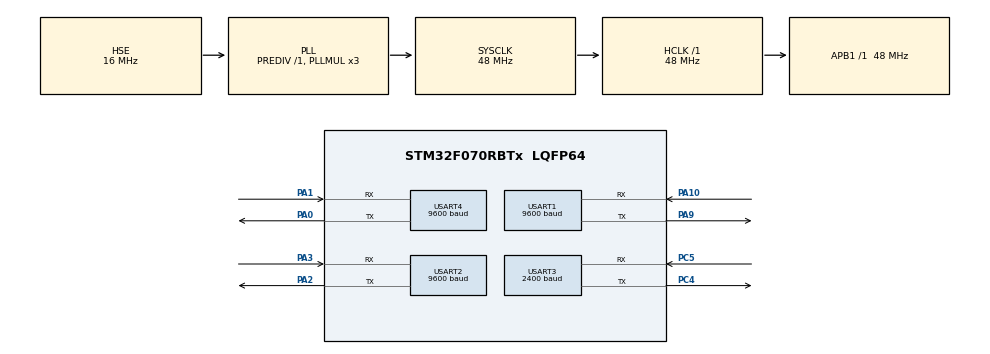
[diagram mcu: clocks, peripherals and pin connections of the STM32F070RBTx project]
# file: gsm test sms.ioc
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Mcu.Family=STM32F0
Mcu.Name=STM32F070RBTx
Mcu.Package=LQFP64
NVIC.USART1_IRQn=true\:0\:0\:false\:false\:true\:true
NVIC.USART2_IRQn=true\:0\:0\:false\:false\:true\:true
NVIC.USART3_4_IRQn=true\:0\:0\:false\:false\:true\:true
PA0.Mode=Asynchronous
PA0.Signal=USART4_TX
PA1.Mode=Asynchronous
PA1.Signal=USART4_RX
PA10.Mode=Asynchronous
PA10.Signal=USART1_RX
PA2.Mode=Asynchronous
PA2.Signal=USART2_TX
PA3.Mode=Asynchronous
PA3.Signal=USART2_RX
PA9.Mode=Asynchronous
PA9.Signal=USART1_TX
PC4.Mode=Asynchronous
PC4.Signal=USART3_TX
PC5.Mode=Asynchronous
PC5.Signal=USART3_RX
PF0-OSC_IN.Mode=HSE-External-Oscillator
PF0-OSC_IN.Signal=RCC_OSC_IN
PF1-OSC_OUT.Mode=HSE-External-Oscillator
PF1-OSC_OUT.Signal=RCC_OSC_OUT
ProjectManager.HeapSize=0x200
ProjectManager.StackSize=0x400
ProjectManager.TargetToolchain=MDK-ARM V5
RCC.AHBFreq_Value=48000000
RCC.APB1Freq_Value=48000000
RCC.APB1TimFreq_Value=48000000
RCC.HCLKFreq_Value=48000000
RCC.HSE_VALUE=16000000
RCC.PLLMUL=RCC_PLL_MUL3
RCC.PLLSourceVirtual=RCC_PLLSOURCE_HSE
RCC.SYSCLKFreq_VALUE=48000000
RCC.SYSCLKSource=RCC_SYSCLKSOURCE_PLLCLK
USART1.BaudRate=9600
USART1.VirtualMode-Asynchronous=VM_ASYNC
USART1.WordLength=WORDLENGTH_8B
USART2.BaudRate=9600
USART2.VirtualMode-Asynchronous=VM_ASYNC
USART2.WordLength=WORDLENGTH_8B
USART3.BaudRate=2400
USART3.VirtualMode-Asynchronous=VM_ASYNC
USART3.WordLength=WORDLENGTH_8B
USART4.BaudRate=9600
USART4.VirtualMode-Asynchronous=VM_ASYNC
USART4.WordLength=WORDLENGTH_8B
board=gsm test sms

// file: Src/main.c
/**
  ******************************************************************************
  * File Name          : main.c
  * Description        : Main program body
  ******************************************************************************
  ** This notice applies to any and all portions of this file
  * that are not between comment pairs USER CODE BEGIN and
  * USER CODE END. Other portions of this file, whether
  * inserted by the user or by software development tools
  * are owned by their respective copyright owners.
  *
  * COPYRIGHT(c) 2017 STMicroelectronics
  *
  * Redistribution and use in source and binary forms, with or without modification,
  * are permitted provided that the following conditions are met:
  *   1. Redistributions of source code must retain the above copyright notice,
  *      this list of conditions and the following disclaimer.
  *   2. Redistributions in binary form must reproduce the above copyright notice,
  *      this list of conditions and the following disclaimer in the documentation
  *      and/or other materials provided with the distribution.
  *   3. Neither the name of STMicroelectronics nor the names of its contributors
  *      may be used to endorse or promote products derived from this software
  *      without specific prior written permission.
  *
  * THIS SOFTWARE IS PROVIDED BY THE COPYRIGHT HOLDERS AND CONTRIBUTORS "AS IS"
  * AND ANY EXPRESS OR IMPLIED WARRANTIES, INCLUDING, BUT NOT LIMITED TO, THE
  * IMPLIED WARRANTIES OF MERCHANTABILITY AND FITNESS FOR A PARTICULAR PURPOSE ARE
  * DISCLAIMED. IN NO EVENT SHALL THE COPYRIGHT HOLDER OR CONTRIBUTORS BE LIABLE
  * FOR ANY DIRECT, INDIRECT, INCIDENTAL, SPECIAL, EXEMPLARY, OR CONSEQUENTIAL
  * DAMAGES (INCLUDING, BUT NOT LIMITED TO, PROCUREMENT OF SUBSTITUTE GOODS OR
  * SERVICES; LOSS OF USE, DATA, OR PROFITS; OR BUSINESS INTERRUPTION) HOWEVER
  * CAUSED AND ON ANY THEORY OF LIABILITY, WHETHER IN CONTRACT, STRICT LIABILITY,
  * OR TORT (INCLUDING NEGLIGENCE OR OTHERWISE) ARISING IN ANY WAY OUT OF THE USE
  * OF THIS SOFTWARE, EVEN IF ADVISED OF THE POSSIBILITY OF SUCH DAMAGE.
  *
  ******************************************************************************
  */
#include "main.h"
#include "stm32f0xx_hal.h"

UART_HandleTypeDef huart1;
UART_HandleTypeDef huart2;
UART_HandleTypeDef huart3;
UART_HandleTypeDef huart4;

/* USER CODE BEGIN PV */
/* Private variables ---------------------------------------------------------*/

/* USER CODE END PV */

void SystemClock_Config(void);
static void MX_GPIO_Init(void);
static void MX_USART1_UART_Init(void);
static void MX_USART3_UART_Init(void);
static void MX_USART2_UART_Init(void);
static void MX_USART4_UART_Init(void);

/* USER CODE BEGIN PFP */
/* Private function prototypes -----------------------------------------------*/
/*
void gsmsms()
{

}
*/
/* USER CODE END PFP */

int main(void)
{

  /* MCU Configuration----------------------------------------------------------*/

  /* Reset of all peripherals, Initializes the Flash interface and the Systick. */
  HAL_Init();

  /* Configure the system clock */
  SystemClock_Config();

  /* Initialize all configured peripherals */
  MX_GPIO_Init();
  MX_USART1_UART_Init();
  MX_USART3_UART_Init();
  MX_USART2_UART_Init();
  MX_USART4_UART_Init();

  /* USER CODE BEGIN 2 */
char buffer[50];
int i=0;

HAL_UART_Transmit(&huart1,"AT\r\n",3,10);
HAL_UART_Transmit(&huart4,"AT\r\n",3,10);
HAL_Delay(1000);

HAL_UART_Transmit(&huart1,"AT+CMGF=1\r\n",10,10);
HAL_UART_Transmit(&huart4,"AT+CMGF=1\r\n",10,10);
HAL_Delay(1000);

sprintf(buffer,"AT+CMGS=\"+918285884700\"\r\n");
i=strlen(buffer);
for(int j=0;j<=i;j++)
{
HAL_UART_Transmit(&huart1,&buffer[j],1,20);
HAL_UART_Transmit(&huart4,&buffer[j],1,20);
}
HAL_Delay(1000);

HAL_UART_Transmit(&huart1,"hello\r\n",6,10);
HAL_UART_Transmit(&huart4,"hello\r\n",6,10);
HAL_Delay(1000);

HAL_UART_Transmit(&huart1,"0x1A\r\n",5,10);
HAL_UART_Transmit(&huart4,"0x1A\r\n",5,10);
HAL_Delay(1000);

  /* USER CODE END 2 */

  /* Infinite loop */
  while (1)
  {

  }

}

/** System Clock Configuration
*/
void SystemClock_Config(void)
{

  RCC_OscInitTypeDef RCC_OscInitStruct;
  RCC_ClkInitTypeDef RCC_ClkInitStruct;
  RCC_PeriphCLKInitTypeDef PeriphClkInit;

    /**Initializes the CPU, AHB and APB busses clocks
    */
  RCC_OscInitStruct.OscillatorType = RCC_OSCILLATORTYPE_HSE;
  RCC_OscInitStruct.HSEState = RCC_HSE_ON;
  RCC_OscInitStruct.HSIState = RCC_HSI_ON;
  RCC_OscInitStruct.PLL.PLLState = RCC_PLL_ON;
  RCC_OscInitStruct.PLL.PLLSource = RCC_PLLSOURCE_HSE;
  RCC_OscInitStruct.PLL.PLLMUL = RCC_PLL_MUL3;
  RCC_OscInitStruct.PLL.PREDIV = RCC_PREDIV_DIV1;
  if (HAL_RCC_OscConfig(&RCC_OscInitStruct) != HAL_OK)
  {
    _Error_Handler(__FILE__, __LINE__);
  }

    /**Initializes the CPU, AHB and APB busses clocks
    */
  RCC_ClkInitStruct.ClockType = RCC_CLOCKTYPE_HCLK|RCC_CLOCKTYPE_SYSCLK
                              |RCC_CLOCKTYPE_PCLK1;
  RCC_ClkInitStruct.SYSCLKSource = RCC_SYSCLKSOURCE_PLLCLK;
  RCC_ClkInitStruct.AHBCLKDivider = RCC_SYSCLK_DIV1;
  RCC_ClkInitStruct.APB1CLKDivider = RCC_HCLK_DIV1;

  if (HAL_RCC_ClockConfig(&RCC_ClkInitStruct, FLASH_LATENCY_1) != HAL_OK)
  {
    _Error_Handler(__FILE__, __LINE__);
  }

  PeriphClkInit.PeriphClockSelection = RCC_PERIPHCLK_USART1;
  PeriphClkInit.Usart1ClockSelection = RCC_USART1CLKSOURCE_PCLK1;
  if (HAL_RCCEx_PeriphCLKConfig(&PeriphClkInit) != HAL_OK)
  {
    _Error_Handler(__FILE__, __LINE__);
  }

    /**Configure the Systick interrupt time
    */
  HAL_SYSTICK_Config(HAL_RCC_GetHCLKFreq()/1000);

    /**Configure the Systick
    */
  HAL_SYSTICK_CLKSourceConfig(SYSTICK_CLKSOURCE_HCLK);

  /* SysTick_IRQn interrupt configuration */
  HAL_NVIC_SetPriority(SysTick_IRQn, 0, 0);
}

/* USART1 init function */
static void MX_USART1_UART_Init(void)
{

  huart1.Instance = USART1;
  huart1.Init.BaudRate = 9600;
  huart1.Init.WordLength = UART_WORDLENGTH_8B;
  huart1.Init.StopBits = UART_STOPBITS_1;
  huart1.Init.Parity = UART_PARITY_NONE;
  huart1.Init.Mode = UART_MODE_TX_RX;
  huart1.Init.HwFlowCtl = UART_HWCONTROL_NONE;
  huart1.Init.OverSampling = UART_OVERSAMPLING_16;
  huart1.Init.OneBitSampling = UART_ONE_BIT_SAMPLE_DISABLE;
  huart1.AdvancedInit.AdvFeatureInit = UART_ADVFEATURE_NO_INIT;
  if (HAL_UART_Init(&huart1) != HAL_OK)
  {
    _Error_Handler(__FILE__, __LINE__);
  }

}

/* USART2 init function */
static void MX_USART2_UART_Init(void)
{

  huart2.Instance = USART2;
  huart2.Init.BaudRate = 9600;
  huart2.Init.WordLength = UART_WORDLENGTH_8B;
  huart2.Init.StopBits = UART_STOPBITS_1;
  huart2.Init.Parity = UART_PARITY_NONE;
  huart2.Init.Mode = UART_MODE_TX_RX;
  huart2.Init.HwFlowCtl = UART_HWCONTROL_NONE;
  huart2.Init.OverSampling = UART_OVERSAMPLING_16;
  huart2.Init.OneBitSampling = UART_ONE_BIT_SAMPLE_DISABLE;
  huart2.AdvancedInit.AdvFeatureInit = UART_ADVFEATURE_NO_INIT;
  if (HAL_UART_Init(&huart2) != HAL_OK)
  {
    _Error_Handler(__FILE__, __LINE__);
  }

}

/* USART3 init function */
static void MX_USART3_UART_Init(void)
{

  huart3.Instance = USART3;
  huart3.Init.BaudRate = 2400;
  huart3.Init.WordLength = UART_WORDLENGTH_8B;
  huart3.Init.StopBits = UART_STOPBITS_1;
  huart3.Init.Parity = UART_PARITY_NONE;
  huart3.Init.Mode = UART_MODE_TX_RX;
  huart3.Init.HwFlowCtl = UART_HWCONTROL_NONE;
  huart3.Init.OverSampling = UART_OVERSAMPLING_16;
  huart3.Init.OneBitSampling = UART_ONE_BIT_SAMPLE_DISABLE;
  huart3.AdvancedInit.AdvFeatureInit = UART_ADVFEATURE_NO_INIT;
  if (HAL_UART_Init(&huart3) != HAL_OK)
  {
    _Error_Handler(__FILE__, __LINE__);
  }

}

/* USART4 init function */
static void MX_USART4_UART_Init(void)
{

  huart4.Instance = USART4;
  huart4.Init.BaudRate = 9600;
  huart4.Init.WordLength = UART_WORDLENGTH_8B;
  huart4.Init.StopBits = UART_STOPBITS_1;
  huart4.Init.Parity = UART_PARITY_NONE;
  huart4.Init.Mode = UART_MODE_TX_RX;
  huart4.Init.HwFlowCtl = UART_HWCONTROL_NONE;
  huart4.Init.OverSampling = UART_OVERSAMPLING_16;
  huart4.Init.OneBitSampling = UART_ONE_BIT_SAMPLE_DISABLE;
  huart4.AdvancedInit.AdvFeatureInit = UART_ADVFEATURE_NO_INIT;
  if (HAL_UART_Init(&huart4) != HAL_OK)
  {
    _Error_Handler(__FILE__, __LINE__);
  }

}

/** Configure pins as
        * Analog
        * Input
        * Output
        * EVENT_OUT
        * EXTI
*/
static void MX_GPIO_Init(void)
{

  /* GPIO Ports Clock Enable */
  __HAL_RCC_GPIOF_CLK_ENABLE();
  __HAL_RCC_GPIOA_CLK_ENABLE();
  __HAL_RCC_GPIOC_CLK_ENABLE();

}

void _Error_Handler(char * file, int line)
{
  while(1)
  {
  }
}

/************************ (C) COPYRIGHT STMicroelectronics *****END OF FILE****/
